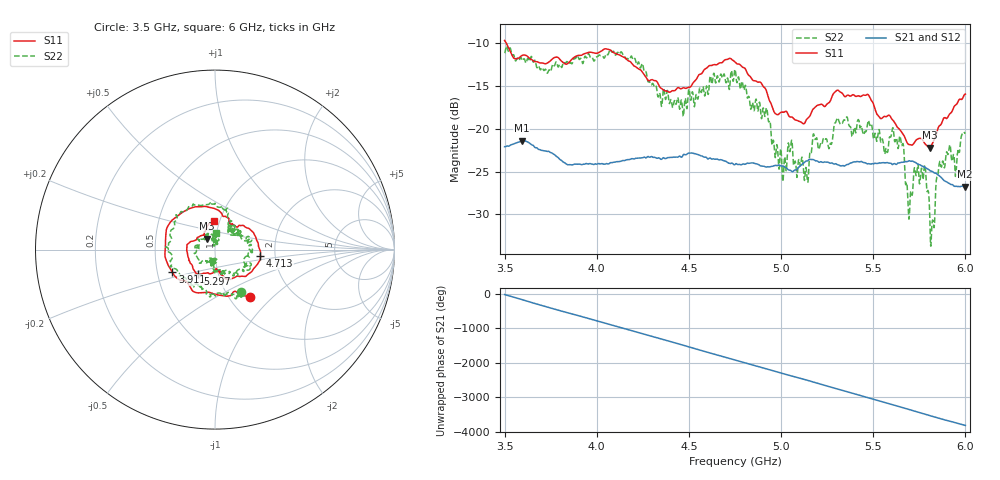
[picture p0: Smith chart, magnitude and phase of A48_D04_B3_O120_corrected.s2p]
! Created with skrf 1.9.0 (http://scikit-rf.org).
# Hz S RI R 50.0
!freq ReS11 ImS11 ReS21 ImS21 ReS12 ImS12 ReS22 ImS22
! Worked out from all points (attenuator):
!   1601 points, 3.5 GHz to 6 GHz, reference 50 ohm
!   highest |S21| = -21.40 dB at 3.594 GHz (marker M1); lowest = -26.8 dB at 5.995 GHz (marker M2)
!   lowest |S11| = -22.2 dB at 5.806 GHz (marker M3), VSWR 1.17, Z = 45.2 + j5.59 ohm
!   |S11| at or under -10 dB: 3.51 GHz to end of sweep
!   |S22| runs from -33.7 to -10.3 dB; largest |S21 - S12| = 0.00097
!   S11 on the Smith chart (normalised r, x): 3.5 GHz: 1.25, -0.74; 3.911 GHz: 0.60, -0.16; 4.713 GHz: 1.67, -0.13; 5.297 GHz: 0.80, -0.22; 6 GHz: 0.94, +0.31
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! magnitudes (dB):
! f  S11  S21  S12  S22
! 3.5 GHz  -9.7  -22.1  -22.1  -11.1
! 3.594 GHz  -11.4  -21.4  -21.4  -11.9
! 3.911 GHz  -11.4  -24.1  -24.1  -11.8
! 3.917 GHz  -11.4  -24.2  -24.1  -11.9
! 4.195 GHz  -12.5  -23.5  -23.5  -11.9
! 4.334 GHz  -14.8  -23.4  -23.3  -16.3
! 4.713 GHz  -11.8  -24.0  -23.9  -14.3
! 4.75 GHz  -12.2  -24.2  -24.1  -13.0
! 5.017 GHz  -18.0  -24.4  -24.4  -23.6
! 5.048 GHz  -18.6  -24.8  -24.8  -22.7
! 5.136 GHz  -19.0  -23.8  -23.7  -24.6
! 5.167 GHz  -17.9  -23.6  -23.6  -22.2
! 5.297 GHz  -15.6  -24.1  -24.0  -19.2
! 5.584 GHz  -18.4  -24.0  -24.0  -21.6
! 5.655 GHz  -20.4  -23.9  -23.8  -22.0
! 5.698 GHz  -21.9  -23.7  -23.7  -28.9
! 5.773 GHz  -21.5  -24.4  -24.4  -25.4
! 5.806 GHz  -22.2  -24.9  -24.8  -29.9
! 5.822 GHz  -21.6  -25.0  -24.9  -30.7
! 5.866 GHz  -19.5  -25.6  -25.6  -24.1
! 5.995 GHz  -16.0  -26.8  -26.7  -20.4
! 6 GHz  -15.9  -26.8  -26.7  -20.5
